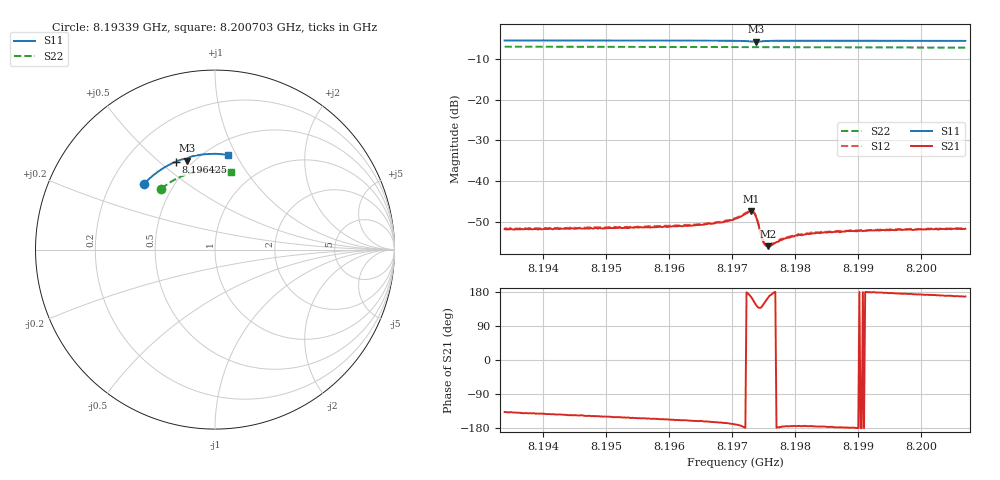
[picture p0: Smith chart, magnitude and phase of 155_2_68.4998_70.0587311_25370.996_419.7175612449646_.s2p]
#  HZ  S  RI  R  50.00
! Rohde & Schwarz Vector Network Analyzer
! Rohde-Schwarz,ZNB20-2Port,1311601062101988,3.16
! Created: UTC 3/20/2024, 5:10:41 PM
! freq[Hz]  re:S11  im:S11  re:S21  im:S21  re:S12  im:S12  re:S22  im:S22
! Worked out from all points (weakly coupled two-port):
!   401 points, 8.19339 GHz to 8.200703 GHz, reference 50 ohm
!   highest |S21| = -47.50 dB at 8.197302 GHz (marker M1); lowest = -56.1 dB at 8.197577 GHz (marker M2)
!   lowest |S11| = -5.7 dB at 8.197376 GHz (marker M3), VSWR 3.16, Z = 23.1 + j31.4 ohm
!   |S11| at or under -10 dB: nowhere
!   |S22| runs from -7.1 to -6.9 dB; largest |S21 - S12| = 0.00021
!   S11 on the Smith chart (normalised r, x): 8.19339 GHz: 0.34, +0.35; 8.196425 GHz: 0.41, +0.57; 8.200703 GHz: 0.63, +0.93
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8.1933902e9  -0.3948 0.367  -0.00188 -0.00175  -0.00199 -0.00167  -0.2981 0.3396
8.1946151e9  -0.3305 0.4247  -0.00215 -0.00146  -0.00227 -0.00144  -0.2425 0.3794
8.1958399e9  -0.2574 0.4712  -0.00248 -0.00112  -0.00259 -0.00104  -0.1812 0.4103
8.1964249e9  -0.2196 0.4894  -0.0027 -0.000937  -0.00279 -0.000832  -0.1503 0.4214
8.1968271e9  -0.192 0.4999  -0.00298 -0.000813  -0.00309 -0.000703  -0.1286 0.4279
8.1970465e9  -0.1753 0.5045  -0.00337 -0.000599  -0.00345 -0.00048  -0.1164 0.4309
8.1972476e9  -0.1576 0.5043  -0.00407 0.000268  -0.00411 0.000453  -0.1053 0.4332
8.1973024e9  -0.1535 0.5009  -0.00409 0.00101  -0.00415 0.00119  -0.1022 0.4338
8.197339e9  -0.1529 0.4978  -0.00376 0.00163  -0.00377 0.00183  -0.1003 0.4341
8.1973756e9  -0.1546 0.4959  -0.00308 0.00204  -0.00305 0.00222  -0.0985 0.4345
8.1974121e9  -0.1571 0.4969  -0.00228 0.00199  -0.00226 0.00209  -0.0966 0.4349
8.197467e9  -0.1578 0.5019  -0.00159 0.00135  -0.00156 0.00145  -0.0936 0.4356
8.1975035e9  -0.1563 0.5051  -0.00146 0.000919  -0.00143 0.000986  -0.0914 0.436
8.1975401e9  -0.1539 0.5079  -0.00146 0.00062  -0.00148 0.000696  -0.0894 0.4365
8.1975767e9  -0.1511 0.5101  -0.00153 0.000395  -0.00152 0.000453  -0.0874 0.4368
8.1977778e9  -0.1355 0.5168  -0.00187 -0.000101  -0.00194 -1.81e-05  -0.0763 0.4388
8.1978874e9  -0.1272 0.5194  -0.00199 -0.000166  -0.00204 -9.11e-05  -0.07 0.4395
8.1980337e9  -0.1165 0.5219  -0.00211 -0.000214  -0.00217 -0.000123  -0.0618 0.4405
8.1982714e9  -0.0994 0.5256  -0.00224 -0.000215  -0.00229 -9.72e-05  -0.0484 0.4418
8.1988564e9  -0.0577 0.5312  -0.00241 -5.43e-05  -0.00245 4.66e-05  -0.0152 0.4432
8.1994962e9  -0.0124 0.5335  -0.00248 0.000153  -0.00252 0.000269  0.0211 0.4416
8.2007028e9  0.0728 0.5272  -0.00252 0.000548  -0.00249 0.000691  0.0889 0.4308
